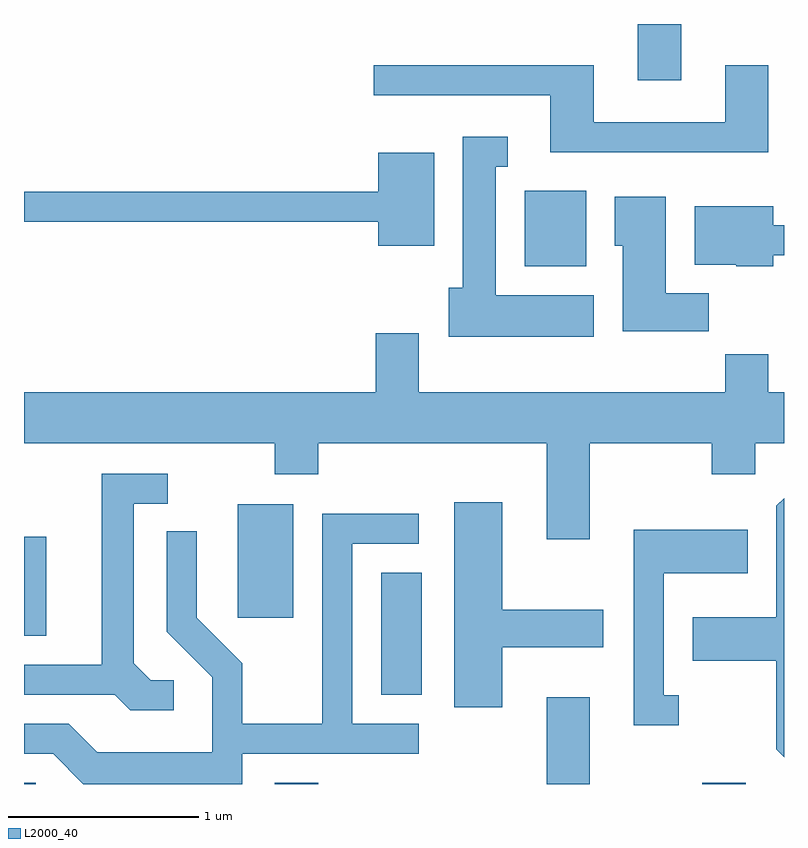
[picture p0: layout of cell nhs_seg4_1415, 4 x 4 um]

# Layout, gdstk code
import gdstk
lib = gdstk.Library(unit=1e-6, precision=1e-09)
def R(c, l, rs):  # rectangles x0, y0, x1, y1
    for r in rs: c.add(gdstk.rectangle(r[:2], r[2:], *l))
def P(c, l, *ps):  # polygons
    for p in ps: c.add(gdstk.Polygon(p, *l))
L2000_40 = (2000, 40)

nhs_seg4_1415 = lib.new_cell('nhs_seg4_1415')
R(nhs_seg4_1415, L2000_40, [(225.611,1363.982,225.674,1363.989), (226.931,1363.982,227.159,1363.989), (228.361,1363.982,228.589,1364.439), (229.181,1363.982,229.409,1363.989), (227.491,1364.451,227.704,1365.094), (225.611,1364.761,225.729,1365.284), (226.736,1364.856,227.029,1365.454), (228.246,1366.706,228.569,1367.104), (228.841,1367.686,229.069,1367.982)])
P(nhs_seg4_1415, L2000_40, [(229.529,1367.764),(229.301,1367.764),(229.301,1367.464),(228.609,1367.464),(228.609,1367.764),(227.453,1367.764),(227.453,1367.606),(228.381,1367.606),(228.381,1367.306),(229.529,1367.306)],
  [(228.609,1366.554),(228.094,1366.554),(228.094,1367.231),(228.158,1367.231),(228.158,1367.389),(227.921,1367.389),(227.921,1366.594),(227.846,1366.594),(227.846,1366.336),(228.609,1366.336)],
  [(227.769,1367.304),(227.476,1367.304),(227.476,1367.099),(225.611,1367.099),(225.611,1366.941),(227.476,1366.941),(227.476,1366.816),(227.769,1366.816)],
  [(229.214,1366.564),(228.989,1366.564),(228.989,1367.074),(228.721,1367.074),(228.721,1366.816),(228.761,1366.816),(228.761,1366.366),(229.214,1366.366)],
  [(229.554,1366.766),(229.611,1366.766),(229.611,1366.924),(229.554,1366.924),(229.554,1367.024),(229.141,1367.024),(229.141,1366.716),(229.36,1366.716),(229.36,1366.706),(229.554,1366.706)],
  [(228.589,1365.776),(229.231,1365.776),(229.231,1365.611),(229.459,1365.611),(229.459,1365.776),(229.611,1365.776),(229.611,1366.044),(229.529,1366.044),(229.529,1366.244),(229.301,1366.244),(229.301,1366.044),(227.689,1366.044),(227.689,1366.354),(227.461,1366.354),(227.461,1366.044),(225.611,1366.044),(225.611,1365.776),(226.931,1365.776),(226.931,1365.611),(227.159,1365.611),(227.159,1365.776),(228.361,1365.776),(228.361,1365.271),(228.589,1365.271)],
  [(226.398,1364.529),(226.277,1364.529),(226.189,1364.617),(226.189,1365.456),(226.368,1365.456),(226.368,1365.614),(226.021,1365.614),(226.021,1364.609),(225.611,1364.609),(225.611,1364.451),(226.089,1364.451),(226.169,1364.371),(226.398,1364.371)],
  [(229.611,1365.487),(229.571,1365.447),(229.571,1364.859),(229.131,1364.859),(229.131,1364.631),(229.571,1364.631),(229.571,1364.164),(229.611,1364.124)],
  [(228.129,1364.701),(228.659,1364.701),(228.659,1364.899),(228.129,1364.899),(228.129,1365.464),(227.876,1365.464),(227.876,1364.386),(228.129,1364.386)],
  [(226.759,1364.141),(227.688,1364.141),(227.688,1364.299),(227.339,1364.299),(227.339,1365.246),(227.688,1365.246),(227.688,1365.404),(227.181,1365.404),(227.181,1364.299),(226.759,1364.299),(226.759,1364.617),(226.519,1364.857),(226.519,1365.313),(226.361,1365.313),(226.361,1364.784),(226.601,1364.544),(226.601,1364.149),(225.997,1364.149),(225.847,1364.299),(225.611,1364.299),(225.611,1364.141),(225.764,1364.141),(225.923,1363.982),(226.759,1363.982)],
  [(229.058,1364.449),(228.979,1364.449),(228.979,1365.091),(229.419,1365.091),(229.419,1365.319),(228.821,1365.319),(228.821,1364.291),(229.058,1364.291)])

lib.write_gds('nhs_seg4_1415.gds')
